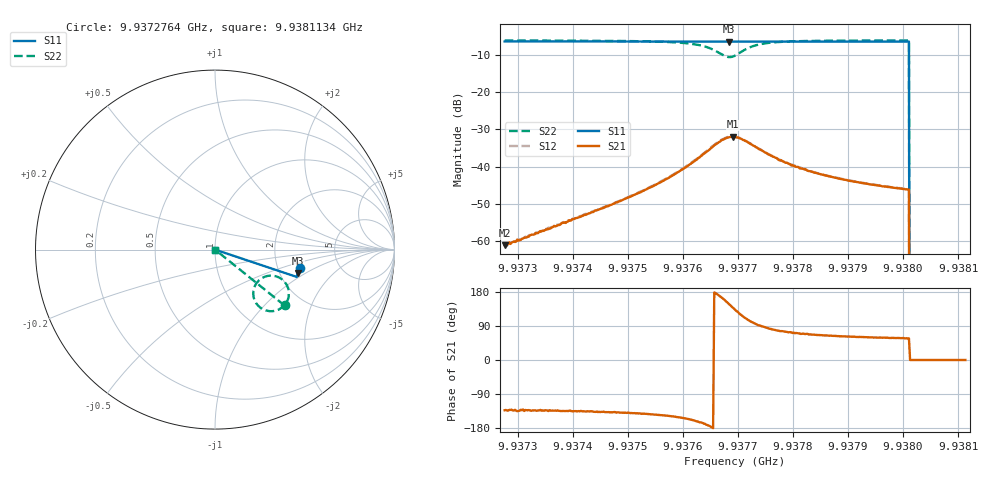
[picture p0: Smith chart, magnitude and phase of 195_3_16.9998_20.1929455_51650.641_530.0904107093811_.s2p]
#  HZ  S  RI  R  50.00
! Rohde & Schwarz Vector Network Analyzer
! Rohde-Schwarz,ZNB20-2Port,1311601062101988,3.16
! Created: UTC 3/20/2024, 11:00:50 PM
! freq[Hz]  re:S11  im:S11  re:S21  im:S21  re:S12  im:S12  re:S22  im:S22
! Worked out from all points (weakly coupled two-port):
!   401 points, 9.9372764 GHz to 9.9381134 GHz, reference 50 ohm
!   highest |S21| = -31.95 dB at 9.9376907 GHz (marker M1); lowest = -61.2 dB at 9.9372764 GHz (marker M2)
!   lowest |S11| = -6.4 dB at 9.9376844 GHz (marker M3), VSWR 2.84, Z = 125 - j42.5 ohm
!   |S11| at or under -10 dB: 9.9380109 GHz to end of sweep
!   |S22| runs from - to -6.1 dB; largest |S21 - S12| = 0.0013
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9.93727635e9  0.4721 -0.1049  -0.00059 -0.000642  -0.000564 -0.000639  0.3902 -0.3091
9.93728682e9  0.4719 -0.1058  -0.000607 -0.000679  -0.000666 -0.000681  0.3893 -0.3098
9.93741655e9  0.4692 -0.1145  -0.00154 -0.00154  -0.00157 -0.0015  0.3753 -0.3221
9.93748979e9  0.4675 -0.1195  -0.00267 -0.00232  -0.0027 -0.00232  0.3617 -0.3304
9.93755675e9  0.4659 -0.124  -0.00491 -0.00348  -0.00505 -0.00342  0.3389 -0.3397
9.93760278e9  0.4645 -0.1273  -0.00855 -0.00424  -0.00876 -0.00415  0.3063 -0.3428
9.93763836e9  0.4629 -0.1296  -0.0146 -0.00313  -0.0149 -0.00271  0.2582 -0.327
9.937653e9  0.4621 -0.1304  -0.0181 -0.000706  -0.0186 -0.00014  0.232 -0.302
9.93766765e9  0.4613 -0.1309  -0.0212 0.00444  -0.0216 0.00532  0.214 -0.256
9.93768439e9  0.4607 -0.1307  -0.0207 0.0136  -0.0207 0.0144  0.2322 -0.1856
9.93769067e9  0.4608 -0.1308  -0.019 0.0167  -0.0184 0.0177  0.2535 -0.1644
9.93769485e9  0.4608 -0.1307  -0.017 0.0183  -0.0165 0.0192  0.2706 -0.1542
9.93770532e9  0.4613 -0.131  -0.0117 0.0206  -0.0112 0.0214  0.3149 -0.1453
9.93771787e9  0.4616 -0.1319  -0.00605 0.0205  -0.00548 0.0208  0.3584 -0.1564
9.93774298e9  0.4618 -0.1337  0.00032 0.0166  0.000763 0.0166  0.4003 -0.1982
9.93778274e9  0.4613 -0.1368  0.00292 0.0113  0.00332 0.0112  0.4117 -0.245
9.93783505e9  0.4602 -0.1408  0.00332 0.00786  0.0035 0.00782  0.4072 -0.2753
9.9379041e9  0.4585 -0.1454  0.00304 0.00566  0.00318 0.00566  0.3987 -0.2952
9.93797525e9  0.4567 -0.1501  0.00282 0.00453  0.00288 0.0045  0.3913 -0.3076
9.93800664e9  0.456 -0.1523  0.00266 0.00418  0.00277 0.00414  0.3886 -0.3114
9.9380171e9  0 0  0 0  0 0  0 0
9.93811335e9  0 0  0 0  0 0  0 0
